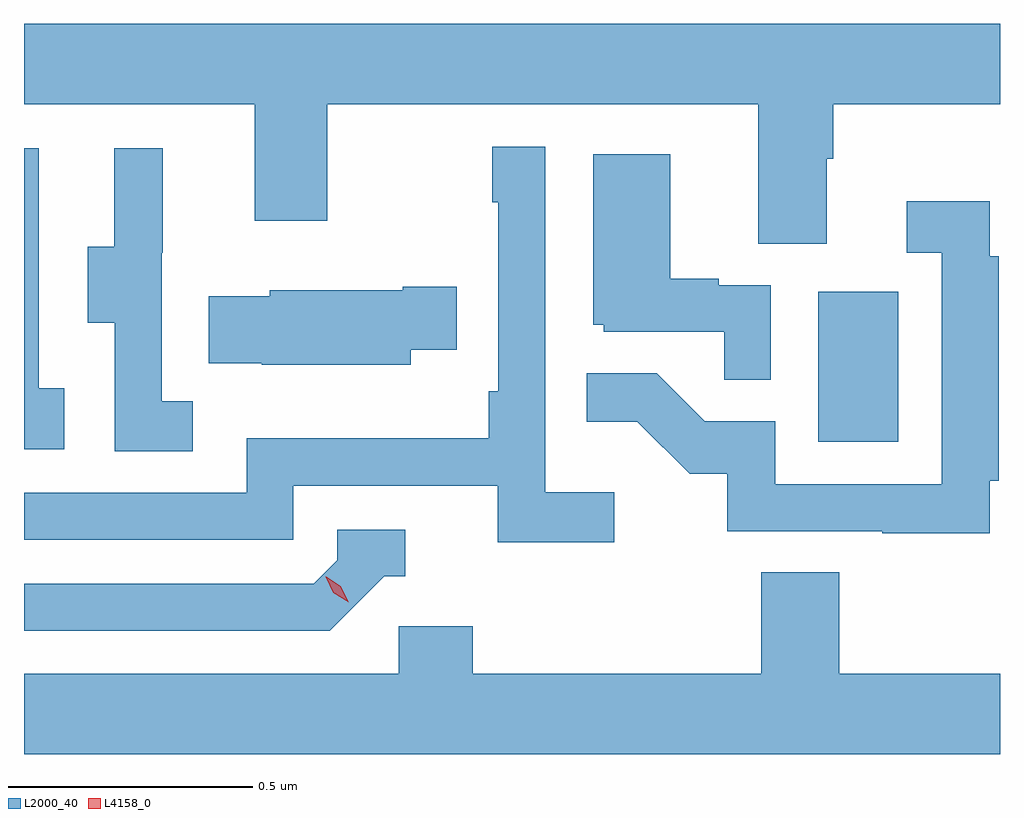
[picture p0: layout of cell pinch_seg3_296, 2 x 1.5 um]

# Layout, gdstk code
import gdstk
lib = gdstk.Library(unit=1e-6, precision=1e-09)
def R(c, l, rs):  # rectangles x0, y0, x1, y1
    for r in rs: c.add(gdstk.rectangle(r[:2], r[2:], *l))
def P(c, l, *ps):  # polygons
    for p in ps: c.add(gdstk.Polygon(p, *l))
L2000_40 = (2000, 40)
L4158_0 = (4158, 0)

pinch_seg3_296 = lib.new_cell('pinch_seg3_296')
R(pinch_seg3_296, L2000_40, [(955.682,722.868,955.846,723.175)])
P(pinch_seg3_296, L2000_40, [(955.699,723.448),(955.712,723.448),(955.712,723.56),(956.054,723.56),(956.054,723.724),(954.054,723.724),(954.054,723.56),(954.527,723.56),(954.527,723.321),(954.675,723.321),(954.675,723.56),(955.559,723.56),(955.559,723.274),(955.699,723.274)],
  [(955.264,722.764),(955.122,722.764),(955.122,723.472),(955.014,723.472),(955.014,723.359),(955.026,723.359),(955.026,722.971),(955.006,722.971),(955.006,722.875),(954.51,722.875),(954.51,722.763),(954.054,722.763),(954.054,722.667),(954.606,722.667),(954.606,722.778),(955.025,722.778),(955.025,722.662),(955.264,722.662)],
  [(954.4,722.951),(954.336,722.951),(954.336,723.255),(954.338,723.255),(954.338,723.469),(954.239,723.469),(954.239,723.267),(954.185,723.267),(954.185,723.112),(954.24,723.112),(954.24,722.848),(954.4,722.848)],
  [(954.136,722.978),(954.084,722.978),(954.084,723.469),(954.054,723.469),(954.054,722.853),(954.136,722.853)],
  [(955.584,723.189),(955.478,723.189),(955.478,723.202),(955.378,723.202),(955.378,723.457),(955.22,723.457),(955.22,723.108),(955.242,723.108),(955.242,723.093),(955.489,723.093),(955.489,722.995),(955.584,722.995)],
  [(956.033,722.788),(956.051,722.788),(956.051,723.248),(956.033,723.248),(956.033,723.361),(955.863,723.361),(955.863,723.255),(955.935,723.255),(955.935,722.781),(955.593,722.781),(955.593,722.91),(955.449,722.91),(955.351,723.008),(955.207,723.008),(955.207,722.909),(955.311,722.909),(955.418,722.802),(955.495,722.802),(955.495,722.685),(955.813,722.685),(955.813,722.68),(956.033,722.68)],
  [(954.847,723.056),(954.941,723.056),(954.941,723.186),(954.83,723.186),(954.83,723.178),(954.558,723.178),(954.558,723.166),(954.433,723.166),(954.433,723.029),(954.541,723.029),(954.541,723.026),(954.847,723.026)],
  [(954.792,722.592),(954.835,722.592),(954.835,722.688),(954.696,722.688),(954.696,722.625),(954.648,722.577),(954.054,722.577),(954.054,722.481),(954.681,722.481)],
  [(955.565,722.6),(955.565,722.392),(954.974,722.392),(954.974,722.49),(954.822,722.49),(954.822,722.392),(954.054,722.392),(954.054,722.228),(956.054,722.228),(956.054,722.392),(955.725,722.392),(955.725,722.6)])
P(pinch_seg3_296, L4158_0, [(954.719,722.539),(954.688,722.558),(954.672,722.591),(954.672,722.591),(954.673,722.591),(954.703,722.572),(954.719,722.539),(954.719,722.539)])

lib.write_gds('pinch_seg3_296.gds')
